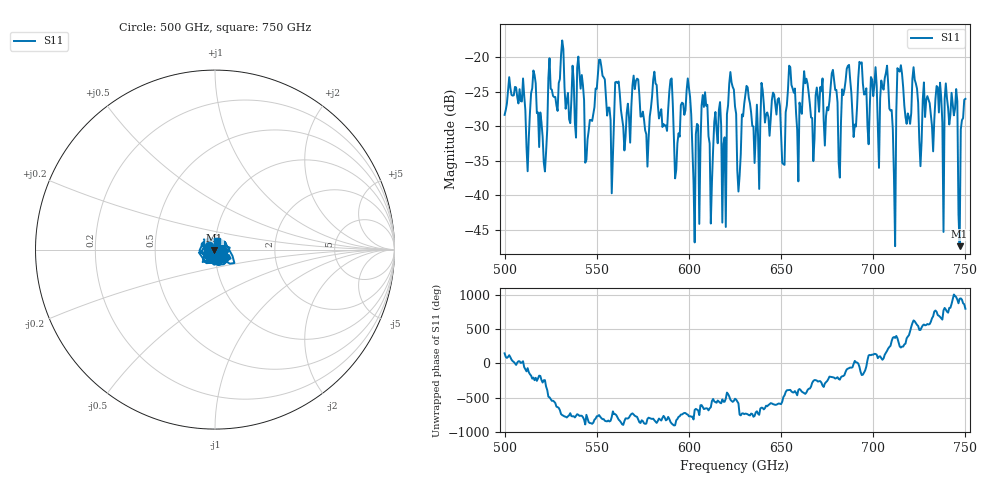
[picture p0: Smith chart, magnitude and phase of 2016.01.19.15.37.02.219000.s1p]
!Created with skrf (http://scikit-rf.org).
# GHz S RI R 50.0
!freq ReS11 ImS11
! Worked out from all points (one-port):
!   401 points, 500 GHz to 750 GHz, reference 50 ohm
!   lowest |S11| = -47.3 dB at 746.9 GHz (marker M1), VSWR 1.01, Z = 49.7 - j0.298 ohm
!   |S11| at or under -10 dB: start of sweep to end of sweep
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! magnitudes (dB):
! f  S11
! 500 GHz  -28.4
! 512.5 GHz  -36.5
! 515.6 GHz  -22.0
! 521.9 GHz  -36.5
! 531.2 GHz  -17.6
! 545 GHz  -31.9
! 551.9 GHz  -20.4
! 558.1 GHz  -39.7
! 562.5 GHz  -25.4
! 590 GHz  -23.3
! 593.8 GHz  -32.5
! 599.4 GHz  -23.1
! 604.4 GHz  -29.7
! 608.1 GHz  -27.2
! 611.9 GHz  -44.1
! 625 GHz  -27.1
! 626.9 GHz  -39.4
! 631.2 GHz  -24.2
! 651.2 GHz  -35.5
! 656.2 GHz  -24.5
! 666.9 GHz  -28.8
! 678.8 GHz  -23.3
! 681.2 GHz  -35.3
! 687.5 GHz  -23.3
! 718.8 GHz  -28.2
! 743.8 GHz  -28.4
! 746.9 GHz  -47.3
! 750 GHz  -26.1
